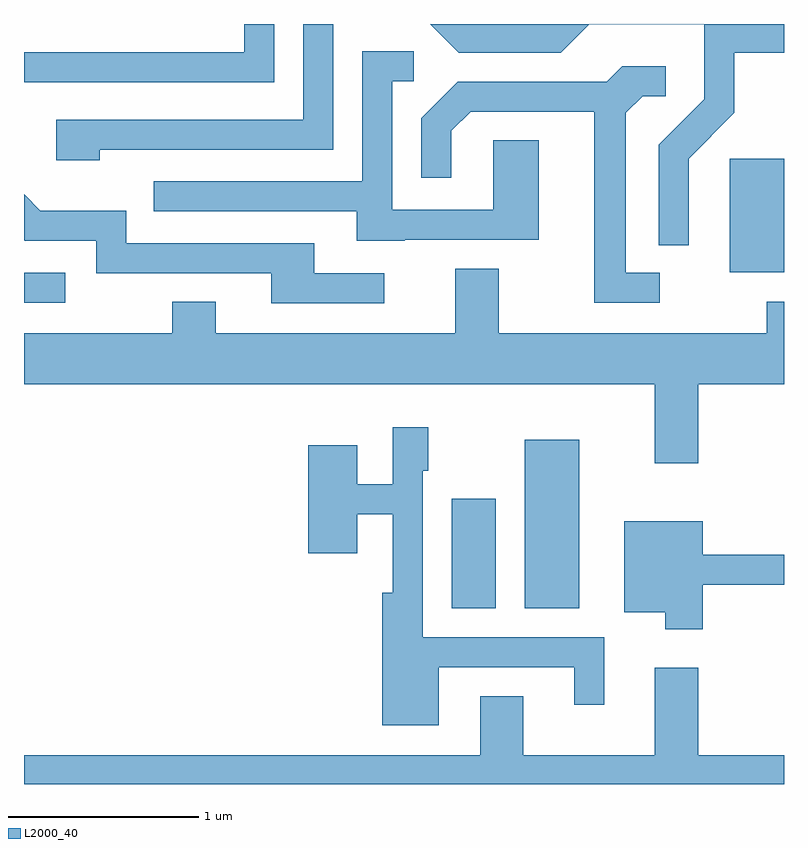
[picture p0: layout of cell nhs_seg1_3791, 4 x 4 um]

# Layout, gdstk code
import gdstk
lib = gdstk.Library(unit=1e-6, precision=1e-09)
def R(c, l, rs):  # rectangles x0, y0, x1, y1
    for r in rs: c.add(gdstk.rectangle(r[:2], r[2:], *l))
def P(c, l, *ps):  # polygons
    for p in ps: c.add(gdstk.Polygon(p, *l))
L2000_40 = (2000, 40)

nhs_seg1_3791 = lib.new_cell('nhs_seg1_3791')
R(nhs_seg1_3791, L2000_40, [(301.861,880.636,302.094,881.214), (302.246,880.636,302.534,881.524), (299.611,882.246,299.828,882.404), (303.326,882.406,303.611,883.004)])
P(nhs_seg1_3791, L2000_40, [(300.009,883.051),(301.239,883.051),(301.239,883.712),(301.081,883.712),(301.081,883.209),(299.781,883.209),(299.781,882.996),(300.009,882.996)],
  [(303.109,883.004),(303.349,883.244),(303.349,883.561),(303.611,883.561),(303.611,883.712),(301.748,883.712),(301.899,883.561),(302.437,883.561),(302.587,883.711),(303.191,883.711),(303.191,883.317),(302.951,883.077),(302.951,882.548),(303.109,882.548)],
  [(300.929,883.712),(300.771,883.712),(300.771,883.564),(299.611,883.564),(299.611,883.406),(300.929,883.406)],
  [(301.615,882.576),(302.319,882.576),(302.319,883.099),(302.081,883.099),(302.081,882.734),(301.549,882.734),(301.549,883.411),(301.663,883.411),(301.663,883.569),(301.391,883.569),(301.391,882.884),(300.293,882.884),(300.293,882.726),(301.361,882.726),(301.361,882.571),(301.615,882.571)],
  [(302.958,882.404),(302.779,882.404),(302.779,883.244),(302.867,883.331),(302.988,883.331),(302.988,883.489),(302.759,883.489),(302.679,883.409),(301.894,883.409),(301.701,883.217),(301.701,882.903),(301.859,882.903),(301.859,883.149),(301.962,883.251),(302.611,883.251),(302.611,882.246),(302.958,882.246)],
  [(301.508,882.399),(301.139,882.399),(301.139,882.559),(300.149,882.559),(300.149,882.729),(299.697,882.729),(299.611,882.815),(299.611,882.574),(299.614,882.571),(299.991,882.571),(299.991,882.401),(300.911,882.401),(300.911,882.241),(301.508,882.241)],
  [(303.159,881.816),(303.611,881.816),(303.611,882.249),(303.521,882.249),(303.521,882.084),(302.109,882.084),(302.109,882.424),(301.881,882.424),(301.881,882.084),(300.619,882.084),(300.619,882.249),(300.391,882.249),(300.391,882.084),(299.611,882.084),(299.611,881.816),(302.931,881.816),(302.931,881.401),(303.159,881.401)],
  [(301.794,880.326),(302.506,880.326),(302.506,880.128),(302.664,880.128),(302.664,880.484),(301.709,880.484),(301.709,881.361),(301.739,881.361),(301.739,881.589),(301.551,881.589),(301.551,881.289),(301.364,881.289),(301.364,881.494),(301.106,881.494),(301.106,880.926),(301.364,880.926),(301.364,881.131),(301.551,881.131),(301.551,880.719),(301.496,880.719),(301.496,880.021),(301.794,880.021)],
  [(303.184,880.761),(303.611,880.761),(303.611,880.919),(303.184,880.919),(303.184,881.094),(302.771,881.094),(302.771,880.616),(302.986,880.616),(302.986,880.526),(303.184,880.526)],
  [(303.611,879.864),(303.159,879.864),(303.159,880.324),(302.931,880.324),(302.931,879.864),(302.239,879.864),(302.239,880.174),(302.011,880.174),(302.011,879.864),(299.611,879.864),(299.611,879.712),(303.611,879.712)])

lib.write_gds('nhs_seg1_3791.gds')
